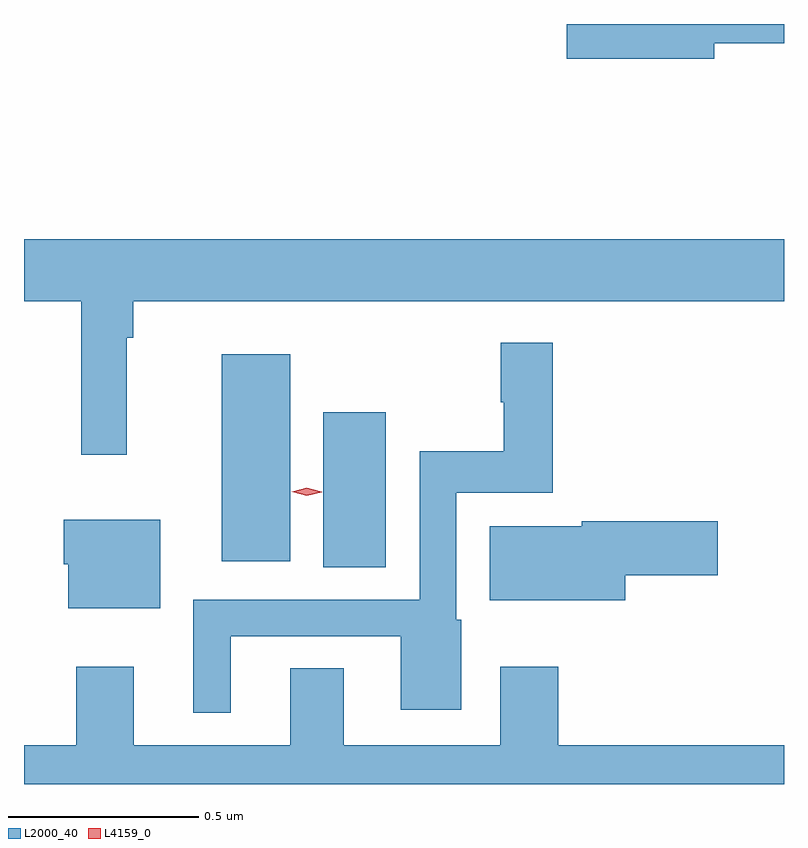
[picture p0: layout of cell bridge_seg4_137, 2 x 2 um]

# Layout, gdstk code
import gdstk
lib = gdstk.Library(unit=1e-6, precision=1e-09)
def R(c, l, rs):  # rectangles x0, y0, x1, y1
    for r in rs: c.add(gdstk.rectangle(r[:2], r[2:], *l))
def P(c, l, *ps):  # polygons
    for p in ps: c.add(gdstk.Polygon(p, *l))
L2000_40 = (2000, 40)
L4159_0 = (4159, 0)

bridge_seg4_137 = lib.new_cell('bridge_seg4_137')
R(bridge_seg4_137, L2000_40, [(262.82,782.8,262.984,783.208), (262.553,782.816,262.732,783.361)])
P(bridge_seg4_137, L2000_40, [(263.848,784.18),(264.032,784.18),(264.032,784.23),(263.46,784.23),(263.46,784.138),(263.848,784.138)],
  [(262.302,783.404),(262.319,783.404),(262.319,783.5),(264.032,783.5),(264.032,783.664),(262.032,783.664),(262.032,783.5),(262.183,783.5),(262.183,783.096),(262.302,783.096)],
  [(262.576,782.619),(263.024,782.619),(263.024,782.426),(263.182,782.426),(263.182,782.662),(263.169,782.662),(263.169,782.997),(263.423,782.997),(263.423,783.391),(263.287,783.391),(263.287,783.234),(263.295,783.234),(263.295,783.106),(263.073,783.106),(263.073,782.715),(262.478,782.715),(262.478,782.418),(262.576,782.418)],
  [(262.39,782.926),(262.136,782.926),(262.136,782.808),(262.148,782.808),(262.148,782.693),(262.39,782.693)],
  [(263.614,782.779),(263.857,782.779),(263.857,782.921),(263.5,782.921),(263.5,782.908),(263.258,782.908),(263.258,782.714),(263.614,782.714)],
  [(264.032,782.332),(263.438,782.332),(263.438,782.539),(263.285,782.539),(263.285,782.332),(262.873,782.332),(262.873,782.534),(262.733,782.534),(262.733,782.332),(262.321,782.332),(262.321,782.539),(262.169,782.539),(262.169,782.332),(262.032,782.332),(262.032,782.23),(264.032,782.23)])
P(bridge_seg4_137, L4159_0, [(262.776,782.989),(262.737,782.999),(262.736,782.999),(262.737,782.999),(262.776,783.009),(262.815,782.999),(262.815,782.998),(262.815,782.998)])

lib.write_gds('bridge_seg4_137.gds')
